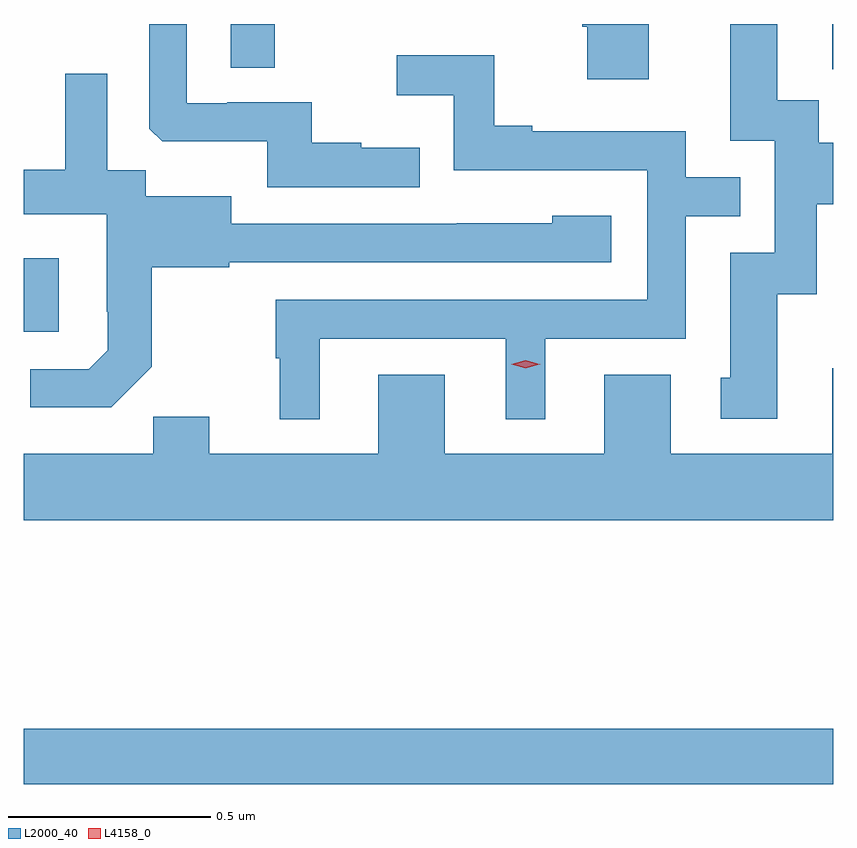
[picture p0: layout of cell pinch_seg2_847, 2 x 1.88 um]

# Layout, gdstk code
import gdstk
lib = gdstk.Library(unit=1e-6, precision=1e-09)
def R(c, l, rs):  # rectangles x0, y0, x1, y1
    for r in rs: c.add(gdstk.rectangle(r[:2], r[2:], *l))
def P(c, l, *ps):  # polygons
    for p in ps: c.add(gdstk.Polygon(p, *l))
L2000_40 = (2000, 40)
L4158_0 = (4158, 0)

pinch_seg2_847 = lib.new_cell('pinch_seg2_847')
R(pinch_seg2_847, L2000_40, [(724.883,609.688,726.883,609.824), (724.883,610.806,724.969,610.987), (726.881,611.454,726.883,611.566), (725.394,611.458,725.503,611.566)])
P(pinch_seg2_847, L2000_40, [(726.427,611.566),(726.263,611.566),(726.263,611.559),(726.275,611.559),(726.275,611.43),(726.427,611.43)],
  [(725.861,611.26),(725.717,611.26),(725.717,611.272),(725.594,611.272),(725.594,611.373),(725.386,611.373),(725.386,611.37),(725.286,611.37),(725.286,611.566),(725.193,611.566),(725.193,611.307),(725.225,611.276),(725.484,611.276),(725.484,611.163),(725.861,611.163)],
  [(726.745,610.898),(726.843,610.898),(726.843,611.12),(726.883,611.12),(726.883,611.272),(726.847,611.272),(726.847,611.378),(726.745,611.378),(726.745,611.566),(726.629,611.566),(726.629,611.277),(726.738,611.277),(726.738,611.001),(726.629,611.001),(726.629,610.692),(726.605,610.692),(726.605,610.59),(726.745,610.59)],
  [(725.614,610.788),(726.074,610.788),(726.074,610.589),(726.172,610.589),(726.172,610.788),(726.519,610.788),(726.519,611.091),(726.653,611.091),(726.653,611.187),(726.519,611.187),(726.519,611.301),(726.139,611.301),(726.139,611.314),(726.045,611.314),(726.045,611.489),(725.805,611.489),(725.805,611.39),(725.946,611.39),(725.946,611.205),(726.423,611.205),(726.423,610.884),(725.505,610.884),(725.505,610.74),(725.516,610.74),(725.516,610.589),(725.614,610.589)],
  [(725.199,610.719),(725.199,610.965),(725.391,610.965),(725.391,610.977),(726.334,610.977),(726.334,611.092),(726.189,611.092),(726.189,611.074),(725.953,611.074),(725.953,611.073),(725.395,611.073),(725.395,611.14),(725.184,611.14),(725.184,611.204),(725.089,611.204),(725.089,611.443),(724.985,611.443),(724.985,611.206),(724.883,611.206),(724.883,611.096),(725.088,611.096),(725.088,610.855),(725.09,610.855),(725.09,610.76),(725.043,610.713),(724.899,610.713),(724.899,610.619),(725.099,610.619)],
  [(726.883,610.715),(726.881,610.715),(726.881,610.504),(726.481,610.504),(726.481,610.699),(726.317,610.699),(726.317,610.504),(725.923,610.504),(725.923,610.699),(725.759,610.699),(725.759,610.504),(725.341,610.504),(725.341,610.595),(725.203,610.595),(725.203,610.504),(724.883,610.504),(724.883,610.34),(726.883,610.34)])
P(pinch_seg2_847, L4158_0, [(726.123,610.715),(726.088,610.725),(726.087,610.725),(726.088,610.725),(726.123,610.735),(726.158,610.725),(726.159,610.725),(726.158,610.725)])

lib.write_gds('pinch_seg2_847.gds')
